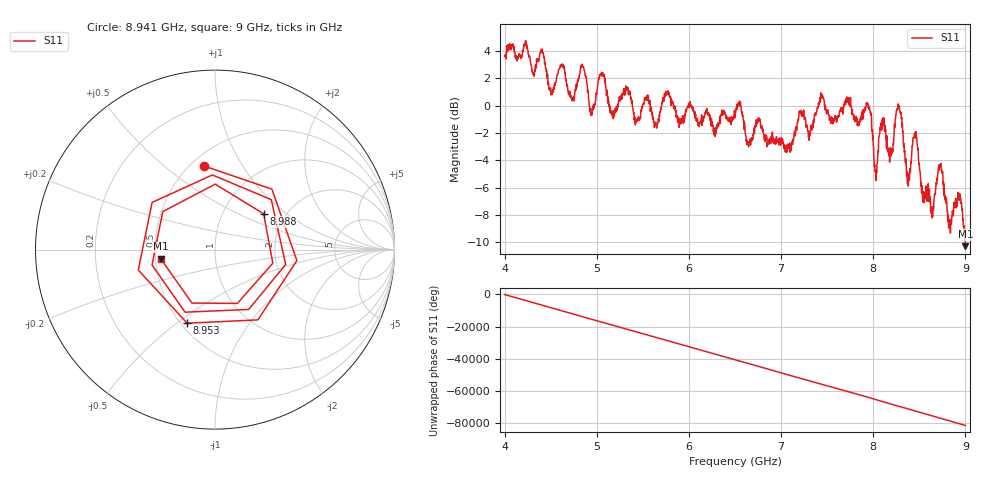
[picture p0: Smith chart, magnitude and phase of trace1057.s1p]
! Created with skrf 1.8.0 (http://scikit-rf.org).
# Hz S RI R 50.0
!freq ReS11 ImS11
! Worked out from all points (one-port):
!   1601 points, 4 GHz to 9 GHz, reference 50 ohm
!   lowest |S11| = -10.3 dB at 9 GHz (marker M1), VSWR 1.88, Z = 26.7 - j3 ohm
!   |S11| at or under -10 dB: 8.998351 GHz to end of sweep
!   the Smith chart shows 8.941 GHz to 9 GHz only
!   S11 on the Smith chart (normalised r, x): 8.941 GHz: 0.58, +0.69; 8.953 GHz: 0.54, -0.55; 8.988 GHz: 1.55, +0.70; 9 GHz: 0.53, -0.06
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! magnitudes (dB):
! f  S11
! 4 GHz  3.6
! 4.406 GHz  4.0
! 4.506 GHz  1.0
! 4.625 GHz  2.9
! 4.731 GHz  0.5
! 4.85 GHz  2.8
! 4.944 GHz  -0.6
! 5.056 GHz  2.2
! 5.25 GHz  0.6
! 5.875 GHz  -0.8
! 6.5 GHz  -0.9
! 7.125 GHz  -2.8
! 7.441 GHz  0.7
! 7.75 GHz  0.1
! 7.95 GHz  0.0
! 8.031 GHz  -5.5
! 8.094 GHz  -1.5
! 8.188 GHz  -3.1
! 8.278 GHz  0.0
! 8.375 GHz  -4.9
! 8.453 GHz  -2.1
! 8.631 GHz  -7.9
! 8.728 GHz  -4.3
! 8.828 GHz  -8.9
! 8.941 GHz  -6.6
! 8.953 GHz  -7.2
! 8.988 GHz  -9.5
! 9 GHz  -10.3
